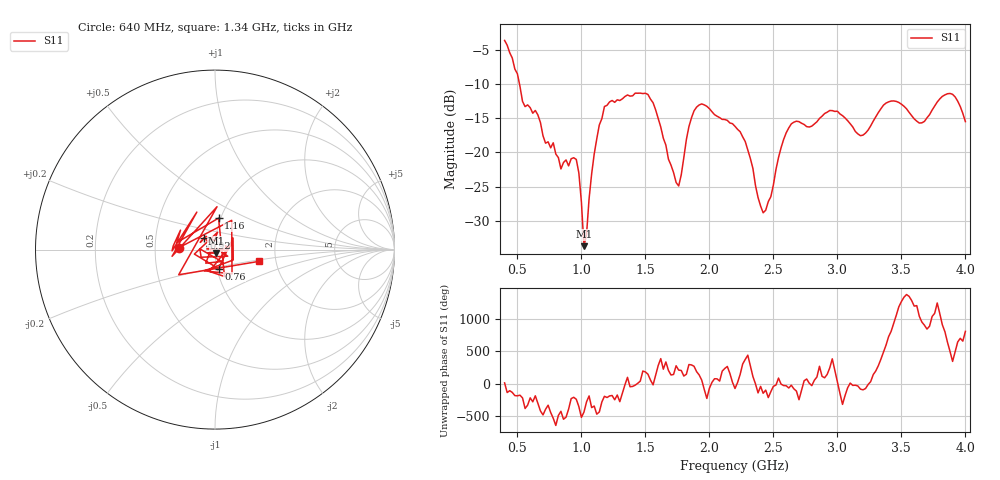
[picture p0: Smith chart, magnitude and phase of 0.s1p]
!Created with skrf (http://scikit-rf.org).
# Hz S RI R 50.0
!freq ReS11 ImS11
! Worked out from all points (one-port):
!   181 points, 400 MHz to 4 GHz, reference 50 ohm
!   lowest |S11| = -33.7 dB at 1.02 GHz (marker M1), VSWR 1.04, Z = 50.6 - j2.01 ohm
!   |S11| at or under -10 dB: 516.1 MHz to end of sweep
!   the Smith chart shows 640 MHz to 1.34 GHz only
!   S11 on the Smith chart (normalised r, x): 640 MHz: 0.66, +0.01; 760 MHz: 1.02, -0.22; 920 MHz: 0.88, +0.11; 1.16 GHz: 0.98, +0.35; 1.34 GHz: 1.64, -0.23
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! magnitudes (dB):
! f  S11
! 400 MHz  -3.7
! 540 MHz  -12.5
! 640 MHz  -13.9
! 760 MHz  -19.3
! 860 MHz  -21.5
! 920 MHz  -20.9
! 980 MHz  -23.0
! 1.02 GHz  -33.7
! 1.1 GHz  -20.2
! 1.16 GHz  -15.1
! 1.3 GHz  -12.4
! 1.34 GHz  -11.8
! 1.56 GHz  -12.7
! 1.76 GHz  -24.9
! 1.84 GHz  -16.2
! 1.9 GHz  -13.4
! 2.2 GHz  -16.2
! 2.28 GHz  -18.4
! 2.42 GHz  -28.8
! 2.58 GHz  -18.1
! 2.66 GHz  -15.6
! 3.1 GHz  -15.8
! 3.2 GHz  -17.5
! 3.42 GHz  -12.5
! 3.56 GHz  -14.1
! 3.66 GHz  -15.7
! 3.88 GHz  -11.4
! 4 GHz  -15.5
